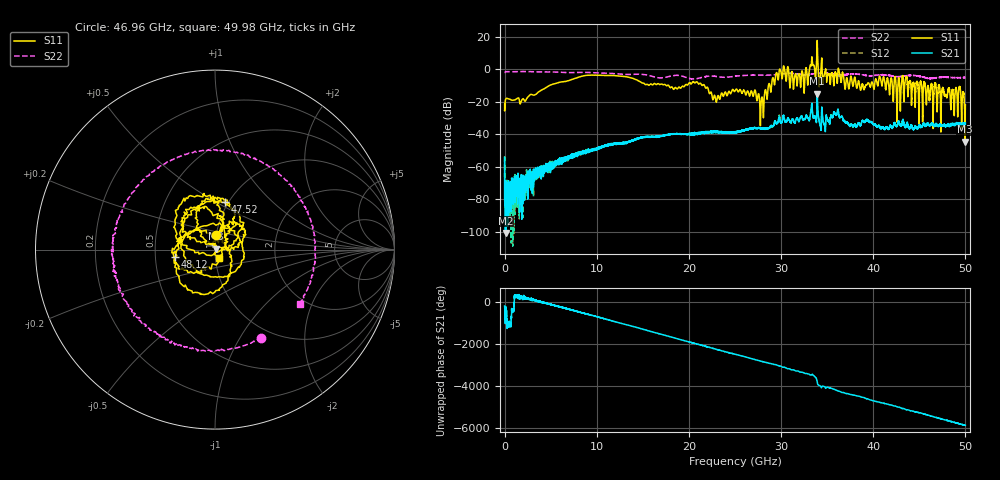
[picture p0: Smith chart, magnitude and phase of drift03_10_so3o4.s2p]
!Created with skrf (http://scikit-rf.org).
# Hz S RI R 50.0
!freq ReS11 ImS11 ReS21 ImS21 ReS12 ImS12 ReS22 ImS22
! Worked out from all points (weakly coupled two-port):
!   10001 points, 300 kHz to 50 GHz, reference 50 ohm
!   highest |S21| = -15.08 dB at 33.92 GHz (marker M1); lowest = -100.8 dB at 140.3 MHz (marker M2)
!   lowest |S11| = -44.6 dB at 49.95 GHz (marker M3), VSWR 1.01, Z = 50.3 + j0.496 ohm
!   |S11| at or under -10 dB: start of sweep to 4.85 GHz; 21.69 GHz to 28.62 GHz (6.936 GHz wide, 27.6 % of centre); 47.17 GHz to end of sweep (the widest 3 of 43)
!   |S22| runs from -5.9 to -1.3 dB; largest |S21 - S12| = 0.018
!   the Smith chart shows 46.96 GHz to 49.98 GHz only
!   S11 on the Smith chart (normalised r, x): 46.96 GHz: 1.00, +0.16; 47.52 GHz: 0.96, +0.55; 48.12 GHz: 0.63, -0.05; 49.98 GHz: 1.04, -0.10
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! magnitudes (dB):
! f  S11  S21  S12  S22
! 300 kHz  -21.6  -54.4  -53.5  -2.1
! 140.3 MHz  -18.1  -100.8  -76.4  -1.5
! 1.82 GHz  -19.5  -66.8  -70.9  -1.4
! 8.335 GHz  -4.3  -51.9  -51.7  -1.9
! 16.67 GHz  -8.8  -41.4  -41.4  -5.2
! 21.02 GHz  -8.8  -39.6  -39.2  -5.5
! 22.81 GHz  -16.1  -38.7  -38.5  -4.3
! 25 GHz  -13.4  -38.8  -38.7  -4.3
! 27.02 GHz  -15.8  -36.5  -36.2  -3.5
! 27.91 GHz  -17.1  -36.5  -36.4  -3.5
! 29.69 GHz  -6.6  -32.2  -31.6  -3.1
! 32.32 GHz  -1.5  -30.5  -30.6  -3.3
! 33.34 GHz  7.3  -20.9  -21.2  -3.0
! 33.92 GHz  17.8  -15.1  -15.3  -2.5
! 38.8 GHz  -9.2  -31.6  -31.9  -3.4
! 41.67 GHz  -9.1  -36.8  -36.7  -3.7
! 46.96 GHz  -21.9  -34.1  -34.4  -5.1
! 47.52 GHz  -11.4  -34.6  -34.5  -4.9
! 48.12 GHz  -12.9  -34.1  -34.0  -4.9
! 49.95 GHz  -44.6  -33.9  -34.0  -5.0
! 49.98 GHz  -25.5  -34.4  -34.2  -5.0
! 50 GHz  -21.9  -33.2  -34.2  -5.0
